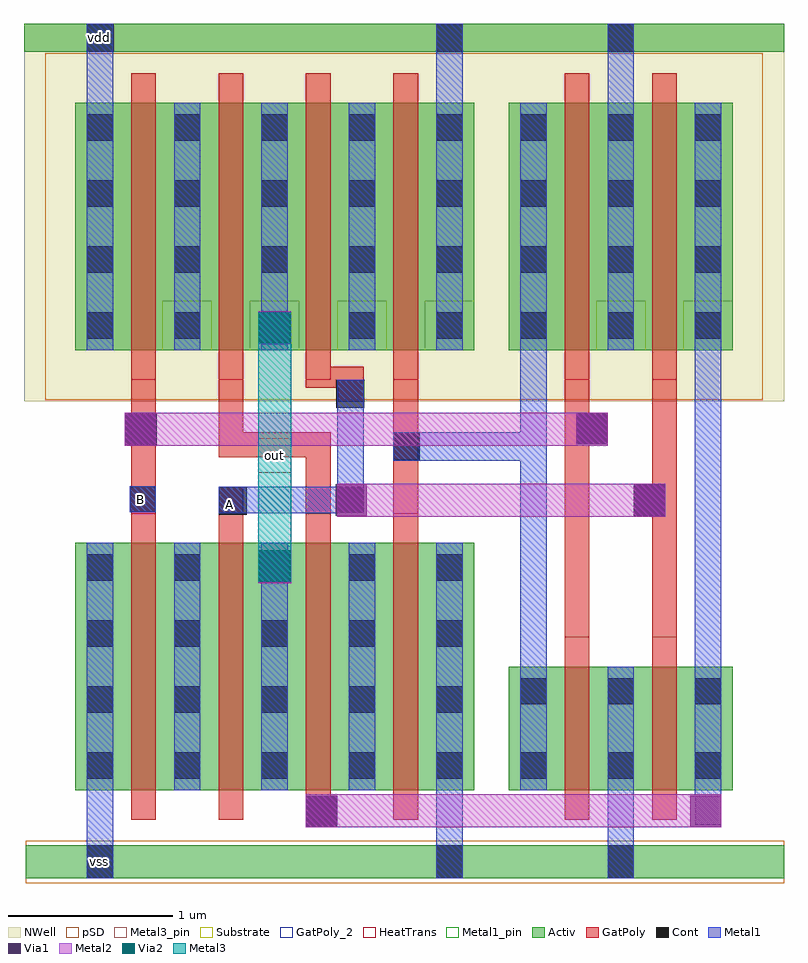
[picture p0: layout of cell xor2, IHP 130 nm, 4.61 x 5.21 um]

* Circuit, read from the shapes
.subckt xor2 A B out vdd vss
XM1 n1 B vss vss sg13_lv_nmos w=1.5u l=0.15u
XM2 out A n1 vss sg13_lv_nmos w=1.5u l=0.15u
XM3 n2 n3 out vss sg13_lv_nmos w=1.5u l=0.15u
XM4 vss n4 n2 vss sg13_lv_nmos w=1.5u l=0.15u
XM5 vss B n4 vss sg13_lv_nmos w=0.75u l=0.15u
XM6 n3 A vss vss sg13_lv_nmos w=0.75u l=0.15u
XM7 n5 B vdd vdd sg13_lv_pmos w=1.5u l=0.15u
XM8 out n3 n5 vdd sg13_lv_pmos w=1.5u l=0.15u
XM9 n6 A out vdd sg13_lv_pmos w=1.5u l=0.15u
XM10 vdd n4 n6 vdd sg13_lv_pmos w=1.5u l=0.15u
XM11 vdd B n4 vdd sg13_lv_pmos w=1.5u l=0.15u
XM12 n3 A vdd vdd sg13_lv_pmos w=1.5u l=0.15u
.ends

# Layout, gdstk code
import gdstk
lib = gdstk.Library(unit=1e-6, precision=5e-09)
def R(c, l, rs):  # rectangles x0, y0, x1, y1
    for r in rs: c.add(gdstk.rectangle(r[:2], r[2:], *l))
def A(c, l, x, y, w, h, nx, ny, dx, dy):  # array of equal rectangles
    R(c, l, [(x+i*dx, y+j*dy, x+i*dx+w, y+j*dy+h) for i in range(nx) for j in range(ny)])
Activ = (1, 0)
GatPoly = (5, 0)
GatPoly_2 = (5, 2)
Cont = (6, 0)
Metal1 = (8, 0)
Metal1_pin = (8, 2)
Metal2 = (10, 0)
pSD = (14, 0)
Via1 = (19, 0)
Via2 = (29, 0)
Metal3 = (30, 0)
Metal3_pin = (30, 2)
NWell = (31, 0)
Substrate = (40, 0)
HeatTrans = (51, 0)

pmos_1 = lib.new_cell('pmos$1')
R(pmos_1, Activ, [(0,0,0.3,0.3), (0,0,0.83,1.5), (0.53,0,0.83,0.3)])
R(pmos_1, GatPoly, [(0.34,-0.18,0.49,1.68), (0.34,-0.18,0.49,1.68)])
A(pmos_1, Cont, 0.07, 0.07, 0.16, 0.16, 1, 4, 0, 0.4)
A(pmos_1, Cont, 0.6, 0.07, 0.16, 0.16, 1, 4, 0, 0.4)
R(pmos_1, Metal1, [(0.07,0,0.23,1.5), (0.07,0,0.23,1.5), (0.6,0,0.76,1.5), (0.6,0,0.76,1.5)])
R(pmos_1, pSD, [(-0.18,-0.3,1.01,1.8)])
R(pmos_1, NWell, [(-0.31,-0.31,1.14,1.81)])
R(pmos_1, Substrate, [(0.53,0,0.83,0.3)])
R(pmos_1, HeatTrans, [(0.34,-0.18,0.49,1.68)])
pmos_1.add(gdstk.Label('pmos', (0.415,0.75), layer=63, texttype=0))
pmos_1.add(gdstk.Label('pmos', (0.415,0.75), layer=51, texttype=0))

nmos_3 = lib.new_cell('nmos$3')
R(nmos_3, Activ, [(0,0,0.3,0.3), (0,0,0.83,1.5), (0.53,0,0.83,0.3)])
R(nmos_3, GatPoly, [(0.34,-0.18,0.49,1.68)])
R(nmos_3, GatPoly_2, [(0.34,-0.18,0.49,1.68)])
A(nmos_3, Cont, 0.07, 0.07, 0.16, 0.16, 1, 4, 0, 0.4)
A(nmos_3, Cont, 0.6, 0.07, 0.16, 0.16, 1, 4, 0, 0.4)
R(nmos_3, Metal1, [(0.07,0,0.23,1.5), (0.6,0,0.76,1.5)])
R(nmos_3, Metal1_pin, [(0.07,0,0.23,1.5), (0.6,0,0.76,1.5)])
R(nmos_3, HeatTrans, [(0.34,-0.18,0.49,1.68)])
nmos_3.add(gdstk.Label('nmos', (0.415,0.75), layer=63, texttype=0))
nmos_3.add(gdstk.Label('nmos', (0.415,0.75), layer=51, texttype=0))

nmos = lib.new_cell('nmos')
R(nmos, Activ, [(0,0,0.3,0.3), (0,0,0.83,0.75), (0.53,0,0.83,0.3)])
R(nmos, GatPoly, [(0.34,-0.18,0.49,0.93)])
R(nmos, GatPoly_2, [(0.34,-0.18,0.49,0.93)])
R(nmos, Cont, [(0.07,0.07,0.23,0.23), (0.6,0.07,0.76,0.23), (0.07,0.52,0.23,0.68), (0.6,0.52,0.76,0.68)])
R(nmos, Metal1, [(0.07,0,0.23,0.75), (0.6,0,0.76,0.75)])
R(nmos, Metal1_pin, [(0.07,0,0.23,0.75), (0.6,0,0.76,0.75)])
R(nmos, HeatTrans, [(0.34,-0.18,0.49,0.93)])
nmos.add(gdstk.Label('nmos', (0.415,0.375), layer=63, texttype=0))
nmos.add(gdstk.Label('nmos', (0.415,0.375), layer=51, texttype=0))

xor2 = lib.new_cell('xor2')
R(xor2, Activ, [(-1.04,-2.6,3.56,-2.4), (-1.05,2.415,3.56,2.585)])
R(xor2, GatPoly, [(0.66,-2.29,0.85,-2.1), (2.23,-1.135,2.38,0.425), (2.76,-1.135,2.91,0.425), (2.65,-0.405,2.76,-0.21), (-0.4,-0.385,-0.25,0.425), (0.13,-0.385,0.28,-0.225), (0.66,-0.385,0.81,-0.025), (1.19,-0.385,1.34,0.425), (0.13,-0.045,0.81,0.105), (0.13,-0.025,0.28,0.425), (0.855,0.29,1.01,0.505), (0.66,0.375,1.01,0.505)])
R(xor2, Cont, [(-0.67,-2.6,-0.51,-2.4), (1.45,-2.6,1.61,-2.4), (2.49,-2.6,2.65,-2.4), (0.66,-2.29,0.85,-2.1), (2.65,-0.4,2.84,-0.21), (0.13,-0.395,0.3,-0.225), (0.85,-0.385,1.015,-0.225), (-0.41,-0.38,-0.25,-0.22), (1.19,-0.06,1.35,0.105), (-0.44,0.025,-0.245,0.225), (2.3,0.035,2.49,0.225), (0.845,0.255,1.015,0.425), (-0.67,2.415,-0.505,2.585), (1.45,2.415,1.61,2.585), (2.49,2.415,2.65,2.585)])
R(xor2, Metal1, [(-0.67,-2.6,-0.51,-1.995), (1.45,-2.6,1.61,-1.995), (2.49,-2.6,2.65,-1.995), (0.66,-2.29,0.85,-2.1), (3.02,-2.275,3.18,-2.065), (3.02,-1.395,3.18,0.675), (1.96,-1.39,2.12,0.685), (2.65,-0.405,2.84,-0.21), (0.13,-0.385,1.01,-0.225), (0.85,-0.385,1.01,0.425), (-0.41,-0.38,-0.25,-0.22), (1.19,-0.065,2.12,0.105), (-0.44,0.03,-0.25,0.225), (2.3,0.035,2.49,0.225), (0.37,0.64,0.57,0.835), (-0.67,2.035,-0.51,2.585), (1.45,2.035,1.61,2.585), (2.49,2.05,2.65,2.585)])
R(xor2, Metal1_pin, [(-0.67,-2.6,-0.51,-2.4), (1.45,-2.6,1.61,-2.4), (2.49,-2.6,2.65,-2.4), (-0.41,-0.38,-0.25,-0.22), (1.45,2.41,1.61,2.585), (2.49,2.41,2.65,2.585), (-0.67,2.415,-0.51,2.585)])
R(xor2, Metal2, [(0.66,-2.29,3.18,-2.09), (0.37,-0.81,0.57,-0.61), (0.85,-0.405,2.84,-0.205), (-0.44,0.025,2.49,0.225), (0.37,0.64,0.57,0.84)])
R(xor2, pSD, [(-1.04,-2.63,3.56,-2.37)])
R(xor2, Via1, [(0.66,-2.29,0.85,-2.1), (2.99,-2.29,3.18,-2.1), (0.375,-0.805,0.565,-0.615), (2.65,-0.405,2.84,-0.215), (0.84,-0.4,1.03,-0.21), (0.84,-0.4,1.03,-0.21), (-0.44,0.03,-0.25,0.22), (-0.44,0.03,-0.25,0.22), (2.3,0.035,2.49,0.225), (2.3,0.035,2.49,0.225), (0.375,0.645,0.565,0.835)])
R(xor2, Via2, [(0.375,-0.8,0.565,-0.61), (0.375,0.645,0.565,0.835)])
R(xor2, Metal3, [(0.37,-0.8,0.57,0.835)])
R(xor2, Metal3_pin, [(0.37,-0.14,0.57,0.07)])
R(xor2, NWell, [(-1.05,2.415,3.56,2.585)])
xor2.add(gdstk.Reference(pmos_1, (-0.74,0.605)))
xor2.add(gdstk.Reference(pmos_1, (-0.21,0.605)))
xor2.add(gdstk.Reference(pmos_1, (0.32,0.605)))
xor2.add(gdstk.Reference(pmos_1, (0.85,0.605)))
xor2.add(gdstk.Reference(pmos_1, (2.42,0.605)))
xor2.add(gdstk.Reference(nmos_3, (-0.74,-2.065)))
xor2.add(gdstk.Reference(nmos_3, (0.32,-2.065)))
xor2.add(gdstk.Reference(nmos_3, (-0.21,-2.065)))
xor2.add(gdstk.Reference(nmos_3, (0.85,-2.065)))
xor2.add(gdstk.Reference(pmos_1, (1.89,0.605)))
xor2.add(gdstk.Reference(nmos, (2.42,-2.065)))
xor2.add(gdstk.Reference(nmos, (1.89,-2.065)))
xor2.add(gdstk.Label('vdd', (-0.59,2.5), layer=8, texttype=2))
xor2.add(gdstk.Label('vss', (-0.59,-2.5), layer=8, texttype=2))
xor2.add(gdstk.Label('A', (0.195,-0.33), layer=8, texttype=2))
xor2.add(gdstk.Label('B', (-0.345,-0.3), layer=8, texttype=2))
xor2.add(gdstk.Label('out', (0.47,-0.035), layer=30, texttype=2))

lib.write_gds('xor2.gds')
